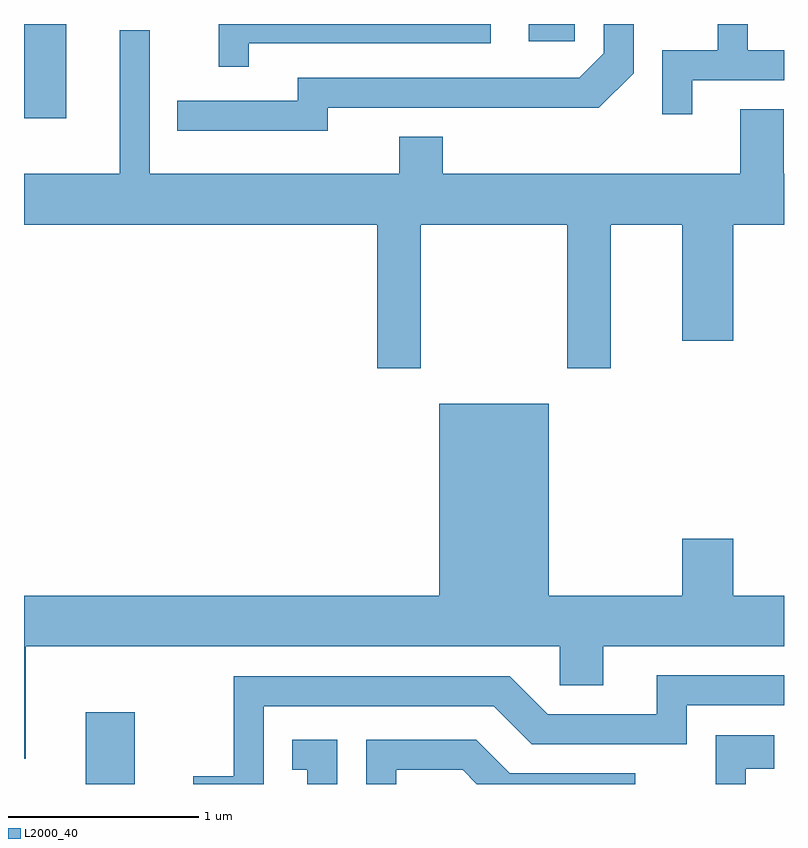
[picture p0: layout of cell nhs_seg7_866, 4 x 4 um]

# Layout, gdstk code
import gdstk
lib = gdstk.Library(unit=1e-6, precision=1e-09)
def R(c, l, rs):  # rectangles x0, y0, x1, y1
    for r in rs: c.add(gdstk.rectangle(r[:2], r[2:], *l))
def P(c, l, *ps):  # polygons
    for p in ps: c.add(gdstk.Polygon(p, *l))
L2000_40 = (2000, 40)

nhs_seg7_866 = lib.new_cell('nhs_seg7_866')
R(nhs_seg7_866, L2000_40, [(211.936,1720.252,212.194,1720.629), (211.611,1723.756,211.834,1724.252), (214.268,1724.161,214.509,1724.252)])
P(nhs_seg7_866, L2000_40, [(212.794,1724.151),(214.068,1724.151),(214.068,1724.252),(212.636,1724.252),(212.636,1724.028),(212.794,1724.028)],
  [(215.129,1723.956),(215.611,1723.956),(215.611,1724.114),(215.419,1724.114),(215.419,1724.252),(215.261,1724.252),(215.261,1724.114),(214.971,1724.114),(214.971,1723.778),(215.129,1723.778)],
  [(213.209,1723.811),(214.637,1723.811),(214.819,1723.994),(214.819,1724.252),(214.661,1724.252),(214.661,1724.097),(214.534,1723.969),(213.051,1723.969),(213.051,1723.849),(212.418,1723.849),(212.418,1723.691),(213.209,1723.691)],
  [(213.699,1723.196),(214.471,1723.196),(214.471,1722.441),(214.699,1722.441),(214.699,1723.196),(215.076,1723.196),(215.076,1722.586),(215.344,1722.586),(215.344,1723.196),(215.611,1723.196),(215.611,1723.464),(215.609,1723.464),(215.609,1723.804),(215.381,1723.804),(215.381,1723.464),(213.814,1723.464),(213.814,1723.659),(213.586,1723.659),(213.586,1723.464),(212.274,1723.464),(212.274,1724.218),(212.116,1724.218),(212.116,1723.464),(211.611,1723.464),(211.611,1723.196),(213.471,1723.196),(213.471,1722.441),(213.699,1722.441)],
  [(211.619,1720.976),(214.431,1720.976),(214.431,1720.771),(214.659,1720.771),(214.659,1720.976),(215.611,1720.976),(215.611,1721.244),(215.344,1721.244),(215.344,1721.544),(215.076,1721.544),(215.076,1721.244),(214.374,1721.244),(214.374,1722.254),(213.796,1722.254),(213.796,1721.244),(211.611,1721.244),(211.611,1720.386),(211.619,1720.386)],
  [(212.874,1720.661),(214.084,1720.661),(214.284,1720.461),(215.099,1720.461),(215.099,1720.666),(215.611,1720.666),(215.611,1720.824),(214.941,1720.824),(214.941,1720.619),(214.367,1720.619),(214.167,1720.819),(212.716,1720.819),(212.716,1720.294),(212.501,1720.294),(212.501,1720.252),(212.874,1720.252)],
  [(215.409,1720.331),(215.559,1720.331),(215.559,1720.509),(215.251,1720.509),(215.251,1720.252),(215.409,1720.252)],
  [(213.569,1720.326),(213.919,1720.326),(213.993,1720.252),(214.829,1720.252),(214.829,1720.309),(214.167,1720.309),(213.992,1720.484),(213.411,1720.484),(213.411,1720.252),(213.569,1720.252)],
  [(213.259,1720.484),(213.023,1720.484),(213.023,1720.326),(213.101,1720.326),(213.101,1720.252),(213.259,1720.252)])

lib.write_gds('nhs_seg7_866.gds')
